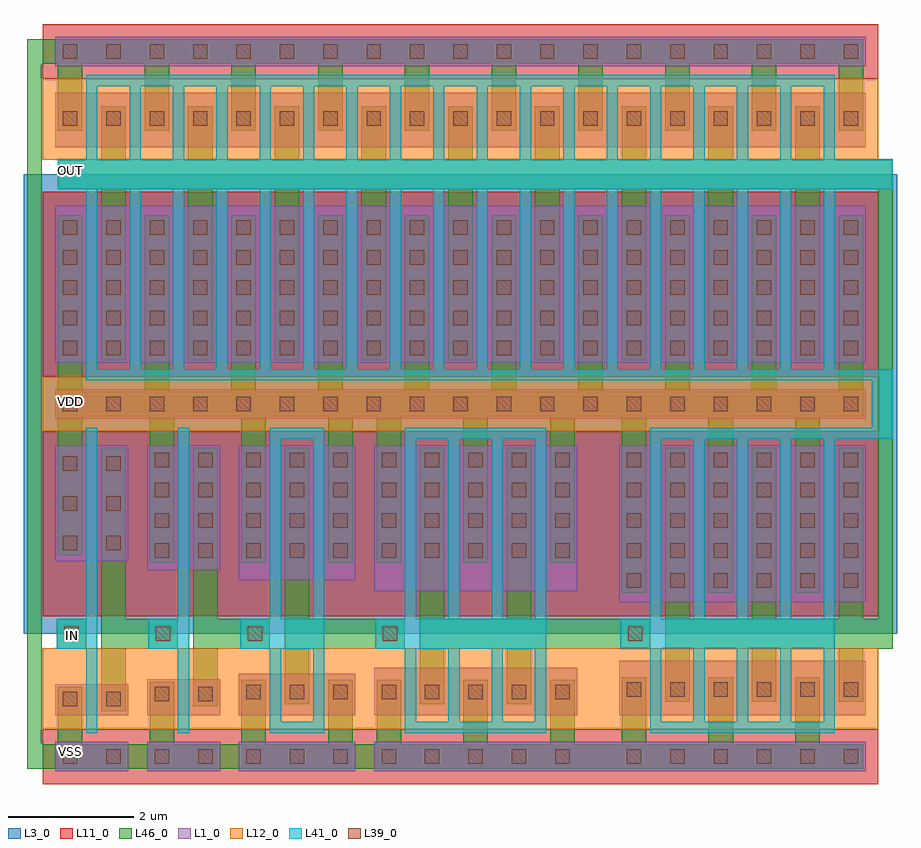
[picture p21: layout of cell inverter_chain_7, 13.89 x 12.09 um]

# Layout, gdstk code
import gdstk
lib = gdstk.Library(unit=1e-6, precision=1e-09)
def R(c, l, rs):  # rectangles x0, y0, x1, y1
    for r in rs: c.add(gdstk.rectangle(r[:2], r[2:], *l))
def A(c, l, x, y, w, h, nx, ny, dx, dy):  # array of equal rectangles
    R(c, l, [(x+i*dx, y+j*dy, x+i*dx+w, y+j*dy+h) for i in range(nx) for j in range(ny)])
L1_0 = (1, 0)
L3_0 = (3, 0)
L11_0 = (11, 0)
L12_0 = (12, 0)
L39_0 = (39, 0)
L41_0 = (41, 0)
L46_0 = (46, 0)

inverter_chain_7 = lib.new_cell('inverter_chain_7')
A(inverter_chain_7, L1_0, 4.35, -0.1, 1.85, 0.47, 7, 1, 1.38, 0)
A(inverter_chain_7, L1_0, 4.35, 0.79, 1.85, 2.5, 9, 1, 1.38, 0)
A(inverter_chain_7, L1_0, 4.35, 4.22, 1.85, 0.87, 9, 1, 1.38, 0)
A(inverter_chain_7, L1_0, 4.35, 5.51, 1.85, 0.47, 9, 1, 1.38, 0)
R(inverter_chain_7, L1_0, [(4.35,-5.71,5.51,-5.24), (5.81,-5.71,6.97,-5.24), (7.27,-5.71,9.12,-5.24), (9.42,-5.71,11.27,-5.24), (10.8,-5.71,12.65,-5.24), (12.63,-5.71,14.48,-5.24), (13.32,-5.71,15.17,-5.24), (14.7,-5.71,17.24,-5.24), (4.35,-4.82,5.51,-4.32), (5.81,-4.82,6.97,-4.24), (7.27,-4.82,9.12,-4.16), (9.42,-4.82,11.27,-4.06), (10.8,-4.82,12.65,-4.06), (13.32,-4.82,15.17,-3.95), (14.7,-4.82,17.24,-3.95), (13.32,-3.02,15.17,-0.52), (14.7,-3.02,17.24,-0.52), (9.42,-2.84,11.27,-0.52), (10.8,-2.84,12.65,-0.52), (7.27,-2.67,9.12,-0.52), (5.81,-2.51,6.97,-0.52), (4.35,-2.37,5.51,-0.52), (13.32,-0.1,15.17,0.37), (14.7,-0.1,17.24,0.37)])
A(inverter_chain_7, L3_0, 3.85, -3.52, 2.85, 7.31, 9, 1, 1.38, 0)
A(inverter_chain_7, L11_0, 4.15, 0.57, 2.25, 2.94, 9, 1, 1.38, 0)
A(inverter_chain_7, L11_0, 4.15, 5.31, 2.25, 0.87, 9, 1, 1.38, 0)
R(inverter_chain_7, L11_0, [(4.15,-5.91,5.71,-5.04), (5.61,-5.91,7.17,-5.04), (7.07,-5.91,9.32,-5.04), (9.22,-5.91,11.47,-5.04), (10.6,-5.91,12.85,-5.04), (12.43,-5.91,14.68,-5.04), (13.12,-5.91,15.37,-5.04), (14.5,-5.91,16.75,-5.04), (16.75,-5.91,17.44,-5.04), (4.15,-3.24,5.71,-0.3), (5.61,-3.24,7.17,-0.3), (7.07,-3.24,9.32,-0.3), (9.22,-3.24,11.47,-0.3), (10.6,-3.24,12.85,-0.3), (12.43,-3.24,14.68,-0.3), (13.12,-3.24,15.37,-0.3), (13.12,-3.24,17.44,-0.3), (14.5,-3.24,16.75,-0.3)])
A(inverter_chain_7, L12_0, 4.15, -0.3, 2.25, 0.87, 9, 1, 1.38, 0)
A(inverter_chain_7, L12_0, 4.15, 4.02, 2.25, 1.29, 9, 1, 1.38, 0)
R(inverter_chain_7, L12_0, [(4.15,-5.04,6.4,-3.75), (4.15,-5.04,5.71,-3.75), (5.61,-5.04,7.17,-3.75), (7.07,-5.04,9.32,-3.75), (9.22,-5.04,11.47,-3.75), (10.6,-5.04,12.85,-3.75), (12.85,-5.04,15.37,-3.75), (13.12,-5.04,17.44,-3.75), (14.5,-5.04,16.75,-3.75)])
A(inverter_chain_7, L39_0, 7.39, -5.59, 0.23, 0.23, 3, 2, 0.69, 1.03)
A(inverter_chain_7, L39_0, 9.54, -5.59, 0.23, 0.23, 5, 2, 0.69, 1.03)
A(inverter_chain_7, L39_0, 13.44, -5.59, 0.23, 0.23, 3, 2, 0.69, 1.07)
A(inverter_chain_7, L39_0, 14.82, -5.59, 0.23, 0.23, 3, 2, 0.69, 1.07)
A(inverter_chain_7, L39_0, 4.49, -3.635, 0.23, 0.23, 3, 1, 1.46, 0)
A(inverter_chain_7, L39_0, 13.44, -2.79, 0.23, 0.23, 3, 5, 0.69, 0.48)
A(inverter_chain_7, L39_0, 14.82, -2.79, 0.23, 0.23, 3, 5, 0.69, 0.48)
A(inverter_chain_7, L39_0, 16.2, -2.79, 0.23, 0.23, 1, 5, 0, 0.48)
A(inverter_chain_7, L39_0, 16.89, -2.79, 0.23, 0.23, 1, 5, 0, 0.48)
A(inverter_chain_7, L39_0, 5.93, -2.31, 0.23, 0.23, 1, 4, 0, 0.48)
A(inverter_chain_7, L39_0, 6.62, -2.31, 0.23, 0.23, 1, 4, 0, 0.48)
A(inverter_chain_7, L39_0, 7.39, -2.31, 0.23, 0.23, 3, 4, 0.69, 0.48)
A(inverter_chain_7, L39_0, 9.54, -2.31, 0.23, 0.23, 5, 4, 0.69, 0.48)
A(inverter_chain_7, L39_0, 4.47, -2.19, 0.23, 0.23, 1, 3, 0, 0.63)
A(inverter_chain_7, L39_0, 5.16, -2.19, 0.23, 0.23, 1, 3, 0, 0.63)
A(inverter_chain_7, L39_0, 4.47, 0.02, 0.23, 0.23, 3, 2, 0.69, 0.89)
A(inverter_chain_7, L39_0, 5.85, 0.02, 0.23, 0.23, 3, 2, 0.69, 0.89)
A(inverter_chain_7, L39_0, 7.23, 0.02, 0.23, 0.23, 3, 2, 0.69, 0.89)
A(inverter_chain_7, L39_0, 8.61, 0.02, 0.23, 0.23, 3, 2, 0.69, 0.89)
A(inverter_chain_7, L39_0, 9.99, 0.02, 0.23, 0.23, 3, 2, 0.69, 0.89)
A(inverter_chain_7, L39_0, 11.37, 0.02, 0.23, 0.23, 3, 2, 0.69, 0.89)
A(inverter_chain_7, L39_0, 13.44, 0.02, 0.23, 0.23, 3, 1, 0.69, 0)
A(inverter_chain_7, L39_0, 14.82, 0.02, 0.23, 0.23, 3, 1, 0.69, 0)
A(inverter_chain_7, L39_0, 12.75, 0.91, 0.23, 0.23, 3, 5, 0.69, 0.48)
A(inverter_chain_7, L39_0, 14.13, 0.91, 0.23, 0.23, 3, 5, 0.69, 0.48)
A(inverter_chain_7, L39_0, 15.51, 0.91, 0.23, 0.23, 3, 5, 0.69, 0.48)
A(inverter_chain_7, L39_0, 4.47, 1.39, 0.23, 0.23, 3, 4, 0.69, 0.48)
A(inverter_chain_7, L39_0, 5.85, 1.39, 0.23, 0.23, 3, 4, 0.69, 0.48)
A(inverter_chain_7, L39_0, 7.23, 1.39, 0.23, 0.23, 3, 4, 0.69, 0.48)
A(inverter_chain_7, L39_0, 8.61, 1.39, 0.23, 0.23, 3, 4, 0.69, 0.48)
A(inverter_chain_7, L39_0, 9.99, 1.39, 0.23, 0.23, 3, 4, 0.69, 0.48)
A(inverter_chain_7, L39_0, 11.37, 1.39, 0.23, 0.23, 3, 4, 0.69, 0.48)
A(inverter_chain_7, L39_0, 4.47, 4.56, 0.23, 0.23, 3, 2, 0.69, 1.07)
A(inverter_chain_7, L39_0, 5.85, 4.56, 0.23, 0.23, 3, 2, 0.69, 1.07)
A(inverter_chain_7, L39_0, 7.23, 4.56, 0.23, 0.23, 3, 2, 0.69, 1.07)
A(inverter_chain_7, L39_0, 8.61, 4.56, 0.23, 0.23, 3, 2, 0.69, 1.07)
A(inverter_chain_7, L39_0, 9.99, 4.56, 0.23, 0.23, 3, 2, 0.69, 1.07)
A(inverter_chain_7, L39_0, 11.37, 4.56, 0.23, 0.23, 3, 2, 0.69, 1.07)
A(inverter_chain_7, L39_0, 12.75, 4.56, 0.23, 0.23, 3, 2, 0.69, 1.07)
A(inverter_chain_7, L39_0, 14.13, 4.56, 0.23, 0.23, 3, 2, 0.69, 1.07)
A(inverter_chain_7, L39_0, 15.51, 4.56, 0.23, 0.23, 3, 2, 0.69, 1.07)
R(inverter_chain_7, L39_0, [(4.47,-5.59,4.7,-5.36), (5.16,-5.59,5.39,-5.36), (5.93,-5.59,6.16,-5.36), (6.62,-5.59,6.85,-5.36), (16.2,-5.59,16.43,-5.36), (16.89,-5.59,17.12,-5.36), (4.47,-4.67,4.7,-4.44), (5.16,-4.67,5.39,-4.44), (5.93,-4.59,6.16,-4.36), (6.62,-4.59,6.85,-4.36), (16.2,-4.52,16.43,-4.29), (16.89,-4.52,17.12,-4.29), (9.56,-3.635,9.79,-3.405), (13.46,-3.635,13.69,-3.405), (12.75,0.02,12.98,0.25), (13.44,0.02,13.67,0.25), (16.2,0.02,16.43,0.25), (16.89,0.02,17.12,0.25)])
A(inverter_chain_7, L41_0, 4.84, -5.1, 0.18, 4.86, 3, 1, 1.46, 0)
A(inverter_chain_7, L41_0, 9.91, -5.1, 0.18, 4.86, 4, 1, 0.69, 0)
A(inverter_chain_7, L41_0, 10.6, -5.1, 0.18, 1.35, 3, 1, 0.69, 0)
A(inverter_chain_7, L41_0, 14.5, -5.1, 0.18, 1.35, 4, 1, 0.69, 0)
A(inverter_chain_7, L41_0, 14.5, -5.1, 0.18, 4.86, 4, 1, 0.69, 0)
A(inverter_chain_7, L41_0, 4.84, 0.51, 0.18, 3, 17, 1, 0.69, 0)
A(inverter_chain_7, L41_0, 4.84, 0.51, 0.18, 4.86, 18, 1, 0.69, 0)
A(inverter_chain_7, L41_0, 4.84, 0.51, 0.87, 0.18, 8, 1, 1.38, 0)
R(inverter_chain_7, L41_0, [(7.76,-5.1,8.63,-4.92), (8.45,-5.1,8.63,-3.75), (8.45,-5.1,8.63,-0.24), (9.91,-5.1,12.16,-4.92), (11.29,-5.1,12.16,-4.92), (13.81,-5.1,14.68,-4.92), (13.81,-5.1,16.75,-4.92), (13.81,-5.1,13.99,-0.4), (4.37,-3.755,4.84,-3.285), (5.83,-3.755,6.3,-3.285), (7.29,-3.755,8.45,-3.285), (9.44,-3.755,12.16,-3.285), (13.34,-3.75,16.75,-3.285), (7.76,-0.42,8.63,-0.24), (9.91,-0.42,12.16,-0.24), (11.29,-0.42,12.16,-0.24), (13.81,-0.42,17.67,-0.24), (17.34,-0.42,17.67,0.69), (4.84,0.51,17.67,0.69), (4.39,3.555,17.67,4.02), (4.84,5.19,16.75,5.37)])
A(inverter_chain_7, L46_0, 9.46, -5.67, 0.39, 1.42, 3, 1, 1.38, 0)
A(inverter_chain_7, L46_0, 14.05, -4.6, 0.39, 4.04, 3, 1, 1.38, 0)
A(inverter_chain_7, L46_0, 9.46, -2.39, 0.39, 2.72, 3, 1, 1.38, 0)
A(inverter_chain_7, L46_0, 4.39, -0.06, 1.77, 0.39, 7, 1, 1.38, 0)
A(inverter_chain_7, L46_0, 5.08, 0.83, 0.39, 4.04, 9, 1, 1.38, 0)
A(inverter_chain_7, L46_0, 5.77, 5.55, 1.77, 0.39, 8, 1, 1.38, 0)
R(inverter_chain_7, L46_0, [(3.9,-5.67,4.13,5.94), (3.9,-5.67,5.47,-5.28), (4.39,-5.67,14.44,-5.28), (4.39,-5.67,4.78,-4.36), (5.85,-5.67,6.93,-5.28), (5.85,-5.67,6.24,-4.28), (7.31,-5.67,9.08,-5.28), (7.31,-5.67,7.7,-4.25), (8.69,-5.67,9.08,-4.25), (9.46,-5.67,11.23,-5.28), (10.84,-5.67,12.61,-5.28), (13.36,-5.67,13.75,-4.21), (13.36,-5.67,15.13,-5.28), (14.74,-5.67,15.13,-4.21), (14.74,-5.67,15.13,-4.21), (14.74,-5.67,17.2,-5.28), (16.12,-5.67,16.51,-4.21), (16.12,-5.67,16.51,-4.21), (5.08,-4.75,5.47,-0.56), (6.54,-4.67,6.93,-0.56), (8,-4.64,8.39,-0.56), (10.15,-4.64,10.54,-0.56), (11.53,-4.64,11.92,-0.56), (4.37,-3.755,4.84,-3.285), (5.08,-3.755,6.3,-3.285), (6.54,-3.755,7.76,-3.285), (8,-3.755,9.91,-3.285), (10.15,-3.755,13.81,-3.285), (14.05,-3.755,17.67,-3.285), (17.44,-3.755,17.67,4.025), (13.36,-2.87,13.75,0.33), (14.74,-2.87,15.13,0.33), (14.74,-2.87,15.13,0.33), (16.12,-2.87,16.51,0.33), (16.12,-2.87,16.51,0.33), (5.85,-2.39,6.24,0.33), (7.31,-2.39,7.7,0.33), (8.69,-2.39,9.08,0.33), (4.39,-2.27,4.78,0.33), (4.39,-0.06,4.78,3.14), (5.77,-0.06,6.16,3.14), (5.77,-0.06,6.16,3.14), (7.15,-0.06,7.54,3.14), (7.15,-0.06,7.54,3.14), (8.53,-0.06,8.92,3.14), (8.53,-0.06,8.92,3.14), (9.91,-0.06,10.3,3.14), (9.91,-0.06,10.3,3.14), (11.29,-0.06,11.68,3.14), (11.29,-0.06,11.68,3.14), (12.67,-0.06,13.06,3.14), (12.67,-0.06,13.06,3.14), (13.36,-0.06,15.13,0.33), (14.05,-0.06,14.44,3.14), (14.05,-0.06,14.44,3.14), (14.74,-0.06,17.2,0.33), (15.43,-0.06,15.82,3.14), (15.43,-0.06,15.82,3.14), (16.81,-0.06,17.2,3.14), (4.39,3.555,17.67,4.025), (4.39,4.48,4.78,5.94), (5.77,4.48,6.16,5.94), (5.77,4.48,6.16,5.94), (7.15,4.48,7.54,5.94), (7.15,4.48,7.54,5.94), (8.53,4.48,8.92,5.94), (8.53,4.48,8.92,5.94), (9.91,4.48,10.3,5.94), (9.91,4.48,10.3,5.94), (11.29,4.48,11.68,5.94), (11.29,4.48,11.68,5.94), (12.67,4.48,13.06,5.94), (12.67,4.48,13.06,5.94), (14.05,4.48,14.44,5.94), (14.05,4.48,14.44,5.94), (15.43,4.48,15.82,5.94), (15.43,4.48,15.82,5.94), (16.81,4.48,17.2,5.94), (3.9,5.55,6.16,5.94)])
inverter_chain_7.add(gdstk.Label('VSS', (4.595,-5.395), layer=101, texttype=0))
inverter_chain_7.add(gdstk.Label('VDD', (4.595,0.17), layer=101, texttype=0))
inverter_chain_7.add(gdstk.Label('OUT', (4.595,3.845), layer=101, texttype=0))
inverter_chain_7.add(gdstk.Label('IN', (4.625,-3.54), layer=101, texttype=0))

lib.write_gds('inverter_chain_7.gds')
